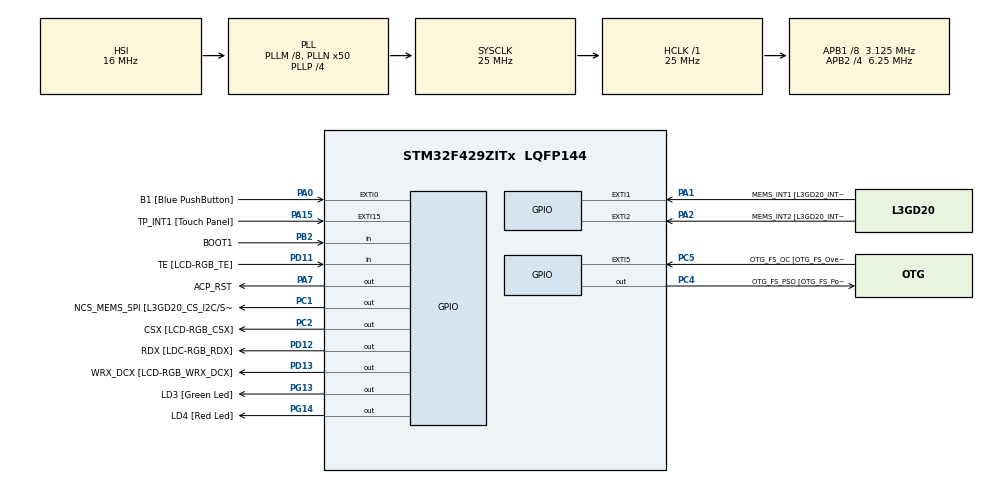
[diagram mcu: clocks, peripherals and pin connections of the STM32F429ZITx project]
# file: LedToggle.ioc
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Mcu.Family=STM32F4
Mcu.Name=STM32F429ZITx
Mcu.Package=LQFP144
NVIC.PriorityGroup=NVIC_PRIORITYGROUP_4
NVIC.TIM6_DAC_IRQn=true\:0\:0\:false\:false\:true\:false\:true\:true
NVIC.TimeBase=TIM6_DAC_IRQn
NVIC.TimeBaseIP=TIM6
PA0/WKUP.GPIO_Label=B1 [Blue PushButton]
PA0/WKUP.GPIO_ModeDefaultEXTI=GPIO_MODE_EVT_RISING
PA0/WKUP.GPIO_PuPd=GPIO_NOPULL
PA0/WKUP.Signal=GPXTI0
PA1.GPIO_Label=MEMS_INT1 [L3GD20_INT1]
PA1.GPIO_ModeDefaultEXTI=GPIO_MODE_EVT_RISING
PA1.GPIO_PuPd=GPIO_NOPULL
PA1.Signal=GPXTI1
PA10.GPIO_Label=STLINK_TX [STM32F103CBT6_PA2]
PA10.Signal=USART1_RX
PA11.GPIO_Label=R4
PA11.GPIO_Mode=GPIO_MODE_AF_PP
PA11.GPIO_PuPd=GPIO_NOPULL
PA11.GPIO_Speed=GPIO_SPEED_FREQ_LOW
PA11.Signal=LTDC_R4
PA12.GPIO_Label=R5
PA12.GPIO_Mode=GPIO_MODE_AF_PP
PA12.GPIO_PuPd=GPIO_NOPULL
PA12.GPIO_Speed=GPIO_SPEED_FREQ_LOW
PA12.Signal=LTDC_R5
PA13.GPIO_Label=SWDIO
PA13.Signal=SYS_JTMS-SWDIO
PA14.GPIO_Label=SWCLK
PA14.Signal=SYS_JTCK-SWCLK
PA15.GPIO_Label=TP_INT1 [Touch Panel]
PA15.GPIO_ModeDefaultEXTI=GPIO_MODE_EVT_RISING
PA15.GPIO_PuPd=GPIO_NOPULL
PA15.Signal=GPXTI15
PA2.GPIO_Label=MEMS_INT2 [L3GD20_INT2]
PA2.GPIO_ModeDefaultEXTI=GPIO_MODE_EVT_RISING
PA2.GPIO_PuPd=GPIO_NOPULL
PA2.Signal=GPXTI2
PA3.GPIO_Label=B5
PA3.GPIO_Mode=GPIO_MODE_AF_PP
PA3.GPIO_PuPd=GPIO_NOPULL
PA3.GPIO_Speed=GPIO_SPEED_FREQ_LOW
PA3.Signal=LTDC_B5
PA4.GPIO_Label=VSYNC
PA4.GPIO_Mode=GPIO_MODE_AF_PP
PA4.GPIO_PuPd=GPIO_NOPULL
PA4.GPIO_Speed=GPIO_SPEED_FREQ_LOW
PA4.Signal=LTDC_VSYNC
PA6.GPIO_Label=G2
PA6.GPIO_Mode=GPIO_MODE_AF_PP
PA6.GPIO_PuPd=GPIO_NOPULL
PA6.GPIO_Speed=GPIO_SPEED_FREQ_LOW
PA6.Signal=LTDC_G2
PA7.GPIO_Label=ACP_RST
PA7.GPIO_Mode=GPIO_MODE_OUTPUT_PP
PA7.GPIO_PuPd=GPIO_NOPULL
PA7.GPIO_Speed=GPIO_SPEED_FREQ_LOW
PA7.Signal=GPIO_Output
PA8.GPIO_Label=I2C3_SCL [ACP/RF_SCL]
PA8.GPIO_Mode=GPIO_MODE_AF_OD
PA8.GPIO_PuPd=GPIO_NOPULL
PA8.GPIO_Speed=GPIO_SPEED_FREQ_LOW
PA8.Signal=I2C3_SCL
PA9.GPIO_Label=STLINK_RX [STM32F103CBT6_PA3]
PA9.Signal=USART1_TX
PB0.GPIO_Label=R3
PB0.GPIO_Mode=GPIO_MODE_AF_PP
PB0.GPIO_PuPd=GPIO_NOPULL
PB0.GPIO_Speed=GPIO_SPEED_FREQ_LOW
PB0.Signal=LTDC_R3
PB1.GPIO_Label=R6
PB1.GPIO_Mode=GPIO_MODE_AF_PP
PB1.GPIO_PuPd=GPIO_NOPULL
PB1.GPIO_Speed=GPIO_SPEED_FREQ_LOW
PB1.Signal=LTDC_R6
PB10.GPIO_Label=G4
PB10.GPIO_Mode=GPIO_MODE_AF_PP
PB10.GPIO_PuPd=GPIO_NOPULL
PB10.GPIO_Speed=GPIO_SPEED_FREQ_LOW
PB10.Signal=LTDC_G4
PB11.GPIO_Label=G5
PB11.GPIO_Mode=GPIO_MODE_AF_PP
PB11.GPIO_PuPd=GPIO_NOPULL
PB11.GPIO_Speed=GPIO_SPEED_FREQ_LOW
PB11.Signal=LTDC_G5
PB12.GPIO_Label=OTG_HS_ID
PB12.GPIO_Mode=GPIO_MODE_AF_PP
PB12.GPIO_PuPd=GPIO_NOPULL
PB12.GPIO_Speed=GPIO_SPEED_FREQ_LOW
PB12.Signal=USB_OTG_HS_ID
PB13.GPIO_Label=VBUS_HS
PB13.GPIO_Mode=GPIO_MODE_INPUT
PB13.GPIO_PuPd=GPIO_NOPULL
PB13.Signal=USB_OTG_HS_VBUS
PB14.GPIO_Label=OTG_HS_DM
PB14.GPIO_Mode=GPIO_MODE_AF_PP
PB14.GPIO_PuPd=GPIO_NOPULL
PB14.GPIO_Speed=GPIO_SPEED_FREQ_LOW
PB14.Signal=USB_OTG_HS_DM
PB15.GPIO_Label=OTG_HS_DP
PB15.GPIO_Mode=GPIO_MODE_AF_PP
PB15.GPIO_PuPd=GPIO_NOPULL
PB15.GPIO_Speed=GPIO_SPEED_FREQ_LOW
PB15.Signal=USB_OTG_HS_DP
PB2/BOOT1.GPIO_Label=BOOT1
PB2/BOOT1.GPIO_Mode=GPIO_MODE_INPUT
PB2/BOOT1.GPIO_PuPd=GPIO_NOPULL
PB2/BOOT1.Signal=GPIO_Input
PB5.GPIO_Label=SDCKE1
PB5.GPIO_Mode=GPIO_MODE_AF_PP
PB5.GPIO_PuPd=GPIO_NOPULL
PB5.GPIO_Speed=GPIO_SPEED_FREQ_VERY_HIGH
PB5.Signal=FMC_SDCKE1
PB6.GPIO_Label=SDNE1 [SDRAM_CS]
PB6.GPIO_Mode=GPIO_MODE_AF_PP
PB6.GPIO_PuPd=GPIO_NOPULL
PB6.GPIO_Speed=GPIO_SPEED_FREQ_VERY_HIGH
PB6.Signal=FMC_SDNE1
PB8.GPIO_Label=B6
PB8.GPIO_Mode=GPIO_MODE_AF_PP
PB8.GPIO_PuPd=GPIO_NOPULL
PB8.GPIO_Speed=GPIO_SPEED_FREQ_LOW
PB8.Signal=LTDC_B6
PB9.GPIO_Label=B7
PB9.GPIO_Mode=GPIO_MODE_AF_PP
PB9.GPIO_PuPd=GPIO_NOPULL
PB9.GPIO_Speed=GPIO_SPEED_FREQ_LOW
PB9.Signal=LTDC_B7
PC0.GPIO_Label=SDNWE
PC0.GPIO_Mode=GPIO_MODE_AF_PP
PC0.GPIO_PuPd=GPIO_NOPULL
PC0.GPIO_Speed=GPIO_SPEED_FREQ_VERY_HIGH
PC0.Signal=FMC_SDNWE
PC1.GPIO_Label=NCS_MEMS_SPI [L3GD20_CS_I2C/SPI]
PC1.GPIO_Mode=GPIO_MODE_OUTPUT_PP
PC1.GPIO_PuPd=GPIO_NOPULL
PC1.GPIO_Speed=GPIO_SPEED_FREQ_LOW
PC1.Signal=GPIO_Output
PC10.GPIO_Label=R2
PC10.GPIO_Mode=GPIO_MODE_AF_PP
PC10.GPIO_PuPd=GPIO_NOPULL
PC10.GPIO_Speed=GPIO_SPEED_FREQ_LOW
PC10.Signal=LTDC_R2
PC14/OSC32_IN.GPIO_Label=PC14-OSC32_IN
PC14/OSC32_IN.Signal=RCC_OSC32_IN
PC15/OSC32_OUT.GPIO_Label=PC15-OSC32_OUT
PC15/OSC32_OUT.Signal=RCC_OSC32_OUT
PC2.GPIO_Label=CSX [LCD-RGB_CSX]
PC2.GPIO_Mode=GPIO_MODE_OUTPUT_PP
PC2.GPIO_PuPd=GPIO_NOPULL
PC2.GPIO_Speed=GPIO_SPEED_FREQ_LOW
PC2.Signal=GPIO_Output
PC4.GPIO_Label=OTG_FS_PSO [OTG_FS_PowerSwitchOn]
PC4.GPIO_Mode=GPIO_MODE_OUTPUT_PP
PC4.GPIO_PuPd=GPIO_NOPULL
PC4.GPIO_Speed=GPIO_SPEED_FREQ_LOW
PC4.Signal=GPIO_Output
PC5.GPIO_Label=OTG_FS_OC [OTG_FS_OverCurrent]
PC5.GPIO_ModeDefaultEXTI=GPIO_MODE_EVT_RISING
PC5.Signal=GPXTI5
PC6.GPIO_Label=HSYNC
PC6.GPIO_Mode=GPIO_MODE_AF_PP
PC6.GPIO_PuPd=GPIO_NOPULL
PC6.GPIO_Speed=GPIO_SPEED_FREQ_LOW
PC6.Signal=LTDC_HSYNC
PC7.GPIO_Label=G6
PC7.GPIO_Mode=GPIO_MODE_AF_PP
PC7.GPIO_PuPd=GPIO_NOPULL
PC7.GPIO_Speed=GPIO_SPEED_FREQ_LOW
PC7.Signal=LTDC_G6
PC9.GPIO_Label=I2C3_SDA [ACP/RF_SDA]
PC9.GPIO_Mode=GPIO_MODE_AF_OD
PC9.GPIO_PuPd=GPIO_NOPULL
PC9.GPIO_Speed=GPIO_SPEED_FREQ_LOW
PC9.Signal=I2C3_SDA
PD0.GPIO_Label=D2
PD0.GPIO_Mode=GPIO_MODE_AF_PP
PD0.GPIO_PuPd=GPIO_NOPULL
PD0.GPIO_Speed=GPIO_SPEED_FREQ_VERY_HIGH
PD0.Signal=FMC_D2_DA2
PD1.GPIO_Label=D3
PD1.GPIO_Mode=GPIO_MODE_AF_PP
PD1.GPIO_PuPd=GPIO_NOPULL
PD1.GPIO_Speed=GPIO_SPEED_FREQ_VERY_HIGH
PD1.Signal=FMC_D3_DA3
PD10.GPIO_Label=D15
PD10.GPIO_Mode=GPIO_MODE_AF_PP
PD10.GPIO_PuPd=GPIO_NOPULL
PD10.GPIO_Speed=GPIO_SPEED_FREQ_VERY_HIGH
PD10.Signal=FMC_D15_DA15
PD11.GPIO_Label=TE [LCD-RGB_TE]
PD11.GPIO_Mode=GPIO_MODE_INPUT
PD11.GPIO_PuPd=GPIO_NOPULL
PD11.Signal=GPIO_Input
PD12.GPIO_Label=RDX [LDC-RGB_RDX]
PD12.GPIO_Mode=GPIO_MODE_OUTPUT_PP
PD12.GPIO_PuPd=GPIO_NOPULL
PD12.GPIO_Speed=GPIO_SPEED_FREQ_LOW
PD12.Signal=GPIO_Output
PD13.GPIO_Label=WRX_DCX [LCD-RGB_WRX_DCX]
PD13.GPIO_Mode=GPIO_MODE_OUTPUT_PP
PD13.GPIO_PuPd=GPIO_NOPULL
PD13.GPIO_Speed=GPIO_SPEED_FREQ_LOW
PD13.Signal=GPIO_Output
PD14.GPIO_Label=D0
PD14.GPIO_Mode=GPIO_MODE_AF_PP
PD14.GPIO_PuPd=GPIO_NOPULL
PD14.GPIO_Speed=GPIO_SPEED_FREQ_VERY_HIGH
PD14.Signal=FMC_D0_DA0
PD15.GPIO_Label=D1
PD15.GPIO_Mode=GPIO_MODE_AF_PP
PD15.GPIO_PuPd=GPIO_NOPULL
PD15.GPIO_Speed=GPIO_SPEED_FREQ_VERY_HIGH
PD15.Signal=FMC_D1_DA1
PD3.GPIO_Label=G7
PD3.GPIO_Mode=GPIO_MODE_AF_PP
PD3.GPIO_PuPd=GPIO_NOPULL
PD3.GPIO_Speed=GPIO_SPEED_FREQ_LOW
PD3.Signal=LTDC_G7
PD6.GPIO_Label=B2
PD6.GPIO_Mode=GPIO_MODE_AF_PP
PD6.GPIO_PuPd=GPIO_NOPULL
PD6.GPIO_Speed=GPIO_SPEED_FREQ_LOW
PD6.Signal=LTDC_B2
PD8.GPIO_Label=D13
PD8.GPIO_Mode=GPIO_MODE_AF_PP
PD8.GPIO_PuPd=GPIO_NOPULL
PD8.GPIO_Speed=GPIO_SPEED_FREQ_VERY_HIGH
PD8.Signal=FMC_D13_DA13
PD9.GPIO_Label=D14
PD9.GPIO_Mode=GPIO_MODE_AF_PP
PD9.GPIO_PuPd=GPIO_NOPULL
PD9.GPIO_Speed=GPIO_SPEED_FREQ_VERY_HIGH
PD9.Signal=FMC_D14_DA14
PE0.GPIO_Label=NBL0 [SDRAM_LDQM]
PE0.GPIO_Mode=GPIO_MODE_AF_PP
PE0.GPIO_PuPd=GPIO_NOPULL
PE0.GPIO_Speed=GPIO_SPEED_FREQ_VERY_HIGH
PE0.Signal=FMC_NBL0
PE1.GPIO_Label=NBL1 [SDRAM_UDQM]
PE1.GPIO_Mode=GPIO_MODE_AF_PP
PE1.GPIO_PuPd=GPIO_NOPULL
PE1.GPIO_Speed=GPIO_SPEED_FREQ_VERY_HIGH
PE1.Signal=FMC_NBL1
PE10.GPIO_Label=D7
PE10.GPIO_Mode=GPIO_MODE_AF_PP
PE10.GPIO_PuPd=GPIO_NOPULL
PE10.GPIO_Speed=GPIO_SPEED_FREQ_VERY_HIGH
PE10.Signal=FMC_D7_DA7
PE11.GPIO_Label=D8
PE11.GPIO_Mode=GPIO_MODE_AF_PP
PE11.GPIO_PuPd=GPIO_NOPULL
PE11.GPIO_Speed=GPIO_SPEED_FREQ_VERY_HIGH
PE11.Signal=FMC_D8_DA8
PE12.GPIO_Label=D9
PE12.GPIO_Mode=GPIO_MODE_AF_PP
PE12.GPIO_PuPd=GPIO_NOPULL
PE12.GPIO_Speed=GPIO_SPEED_FREQ_VERY_HIGH
PE12.Signal=FMC_D9_DA9
PE13.GPIO_Label=D10
PE13.GPIO_Mode=GPIO_MODE_AF_PP
PE13.GPIO_PuPd=GPIO_NOPULL
PE13.GPIO_Speed=GPIO_SPEED_FREQ_VERY_HIGH
PE13.Signal=FMC_D10_DA10
PE14.GPIO_Label=D11
PE14.GPIO_Mode=GPIO_MODE_AF_PP
PE14.GPIO_PuPd=GPIO_NOPULL
PE14.GPIO_Speed=GPIO_SPEED_FREQ_VERY_HIGH
PE14.Signal=FMC_D11_DA11
PE15.GPIO_Label=D12
PE15.GPIO_Mode=GPIO_MODE_AF_PP
PE15.GPIO_PuPd=GPIO_NOPULL
PE15.GPIO_Speed=GPIO_SPEED_FREQ_VERY_HIGH
PE15.Signal=FMC_D12_DA12
PE7.GPIO_Label=D4
PE7.GPIO_Mode=GPIO_MODE_AF_PP
PE7.GPIO_PuPd=GPIO_NOPULL
PE7.GPIO_Speed=GPIO_SPEED_FREQ_VERY_HIGH
PE7.Signal=FMC_D4_DA4
PE8.GPIO_Label=D5
PE8.GPIO_Mode=GPIO_MODE_AF_PP
PE8.GPIO_PuPd=GPIO_NOPULL
PE8.GPIO_Speed=GPIO_SPEED_FREQ_VERY_HIGH
PE8.Signal=FMC_D5_DA5
PE9.GPIO_Label=D6
PE9.GPIO_Mode=GPIO_MODE_AF_PP
PE9.GPIO_PuPd=GPIO_NOPULL
PE9.GPIO_Speed=GPIO_SPEED_FREQ_VERY_HIGH
PE9.Signal=FMC_D6_DA6
PF0.GPIO_Label=A0
PF0.GPIO_Mode=GPIO_MODE_AF_PP
PF0.GPIO_PuPd=GPIO_NOPULL
PF0.GPIO_Speed=GPIO_SPEED_FREQ_VERY_HIGH
PF0.Signal=FMC_A0
PF1.GPIO_Label=A1
PF1.GPIO_Mode=GPIO_MODE_AF_PP
PF1.GPIO_PuPd=GPIO_NOPULL
PF1.GPIO_Speed=GPIO_SPEED_FREQ_VERY_HIGH
PF1.Signal=FMC_A1
PF10.GPIO_Label=ENABLE [LCD-RGB_ENABLE]
PF10.GPIO_Mode=GPIO_MODE_AF_PP
PF10.GPIO_PuPd=GPIO_NOPULL
PF10.GPIO_Speed=GPIO_SPEED_FREQ_LOW
PF10.Signal=LTDC_DE
PF11.GPIO_Label=SDNRAS
PF11.GPIO_Mode=GPIO_MODE_AF_PP
PF11.GPIO_PuPd=GPIO_NOPULL
PF11.GPIO_Speed=GPIO_SPEED_FREQ_VERY_HIGH
PF11.Signal=FMC_SDNRAS
PF12.GPIO_Label=A6
PF12.GPIO_Mode=GPIO_MODE_AF_PP
PF12.GPIO_PuPd=GPIO_NOPULL
PF12.GPIO_Speed=GPIO_SPEED_FREQ_VERY_HIGH
PF12.Signal=FMC_A6
PF13.GPIO_Label=A7
PF13.GPIO_Mode=GPIO_MODE_AF_PP
PF13.GPIO_PuPd=GPIO_NOPULL
PF13.GPIO_Speed=GPIO_SPEED_FREQ_VERY_HIGH
PF13.Signal=FMC_A7
PF14.GPIO_Label=A8
PF14.GPIO_Mode=GPIO_MODE_AF_PP
PF14.GPIO_PuPd=GPIO_NOPULL
PF14.GPIO_Speed=GPIO_SPEED_FREQ_VERY_HIGH
PF14.Signal=FMC_A8
PF15.GPIO_Label=A9
PF15.GPIO_Mode=GPIO_MODE_AF_PP
PF15.GPIO_PuPd=GPIO_NOPULL
PF15.GPIO_Speed=GPIO_SPEED_FREQ_VERY_HIGH
PF15.Signal=FMC_A9
PF2.GPIO_Label=A2
PF2.GPIO_Mode=GPIO_MODE_AF_PP
PF2.GPIO_PuPd=GPIO_NOPULL
PF2.GPIO_Speed=GPIO_SPEED_FREQ_VERY_HIGH
PF2.Signal=FMC_A2
PF3.GPIO_Label=A3
PF3.GPIO_Mode=GPIO_MODE_AF_PP
PF3.GPIO_PuPd=GPIO_NOPULL
PF3.GPIO_Speed=GPIO_SPEED_FREQ_VERY_HIGH
PF3.Signal=FMC_A3
PF4.GPIO_Label=A4
PF4.GPIO_Mode=GPIO_MODE_AF_PP
PF4.GPIO_PuPd=GPIO_NOPULL
PF4.GPIO_Speed=GPIO_SPEED_FREQ_VERY_HIGH
PF4.Signal=FMC_A4
PF5.GPIO_Label=A5
PF5.GPIO_Mode=GPIO_MODE_AF_PP
PF5.GPIO_PuPd=GPIO_NOPULL
PF5.GPIO_Speed=GPIO_SPEED_FREQ_VERY_HIGH
PF5.Signal=FMC_A5
PF7.GPIO_Label=SPI5_SCK [L3GD20_SCL/SPC]
PF7.GPIO_Mode=GPIO_MODE_AF_PP
PF7.GPIO_PuPd=GPIO_NOPULL
PF7.GPIO_Speed=GPIO_SPEED_FREQ_LOW
PF7.Signal=SPI5_SCK
PF8.GPIO_Label=SPI5_MISO [L3GD20_SDO]
PF8.GPIO_Mode=GPIO_MODE_AF_PP
PF8.GPIO_PuPd=GPIO_NOPULL
PF8.GPIO_Speed=GPIO_SPEED_FREQ_LOW
PF8.Signal=SPI5_MISO
PF9.GPIO_Label=SPI5_MOSI [L3GD20_SDA/SDI/SDO]
PF9.GPIO_Mode=GPIO_MODE_AF_PP
PF9.GPIO_PuPd=GPIO_NOPULL
PF9.GPIO_Speed=GPIO_SPEED_FREQ_LOW
PF9.Signal=SPI5_MOSI
PG0.GPIO_Label=A10
PG0.GPIO_Mode=GPIO_MODE_AF_PP
PG0.GPIO_PuPd=GPIO_NOPULL
PG0.GPIO_Speed=GPIO_SPEED_FREQ_VERY_HIGH
PG0.Signal=FMC_A10
PG1.GPIO_Label=A11
PG1.GPIO_Mode=GPIO_MODE_AF_PP
PG1.GPIO_PuPd=GPIO_NOPULL
PG1.GPIO_Speed=GPIO_SPEED_FREQ_VERY_HIGH
PG1.Signal=FMC_A11
PG10.GPIO_Label=G3
PG10.GPIO_Mode=GPIO_MODE_AF_PP
PG10.GPIO_PuPd=GPIO_NOPULL
PG10.GPIO_Speed=GPIO_SPEED_FREQ_LOW
PG10.Signal=LTDC_G3
PG11.GPIO_Label=B3
PG11.GPIO_Mode=GPIO_MODE_AF_PP
PG11.GPIO_PuPd=GPIO_NOPULL
PG11.GPIO_Speed=GPIO_SPEED_FREQ_LOW
PG11.Signal=LTDC_B3
PG12.GPIO_Label=B4
PG12.GPIO_Mode=GPIO_MODE_AF_PP
PG12.GPIO_PuPd=GPIO_NOPULL
PG12.GPIO_Speed=GPIO_SPEED_FREQ_LOW
PG12.Signal=LTDC_B4
PG13.GPIO_Label=LD3 [Green Led]
PG13.GPIO_Mode=GPIO_MODE_OUTPUT_PP
PG13.GPIO_PuPd=GPIO_NOPULL
PG13.GPIO_Speed=GPIO_SPEED_FREQ_LOW
PG13.Signal=GPIO_Output
PG14.GPIO_Label=LD4 [Red Led]
PG14.GPIO_Mode=GPIO_MODE_OUTPUT_PP
PG14.GPIO_PuPd=GPIO_NOPULL
PG14.GPIO_Speed=GPIO_SPEED_FREQ_LOW
PG14.Signal=GPIO_Output
PG15.GPIO_Label=SDNCAS
PG15.GPIO_Mode=GPIO_MODE_AF_PP
PG15.GPIO_PuPd=GPIO_NOPULL
PG15.GPIO_Speed=GPIO_SPEED_FREQ_VERY_HIGH
PG15.Signal=FMC_SDNCAS
PG4.GPIO_Label=BA0
PG4.GPIO_Mode=GPIO_MODE_AF_PP
PG4.GPIO_PuPd=GPIO_NOPULL
PG4.GPIO_Speed=GPIO_SPEED_FREQ_VERY_HIGH
PG4.Signal=FMC_A14_BA0
PG5.GPIO_Label=BA1
PG5.GPIO_Mode=GPIO_MODE_AF_PP
PG5.GPIO_PuPd=GPIO_NOPULL
PG5.GPIO_Speed=GPIO_SPEED_FREQ_VERY_HIGH
PG5.Signal=FMC_A15_BA1
PG6.GPIO_Label=R7
PG6.GPIO_Mode=GPIO_MODE_AF_PP
PG6.GPIO_PuPd=GPIO_NOPULL
PG6.GPIO_Speed=GPIO_SPEED_FREQ_LOW
PG6.Signal=LTDC_R7
PG7.GPIO_Label=DOTCLK [LCT-RGB_DOTCLK]
PG7.GPIO_Mode=GPIO_MODE_AF_PP
PG7.GPIO_PuPd=GPIO_NOPULL
PG7.GPIO_Speed=GPIO_SPEED_FREQ_LOW
PG7.Signal=LTDC_CLK
PG8.GPIO_Label=SDCLK
PG8.GPIO_Mode=GPIO_MODE_AF_PP
PG8.GPIO_PuPd=GPIO_NOPULL
PG8.GPIO_Speed=GPIO_SPEED_FREQ_VERY_HIGH
PG8.Signal=FMC_SDCLK
PH0/OSC_IN.GPIO_Label=PH0-OSC_IN
PH0/OSC_IN.Signal=RCC_OSC_IN
PH1/OSC_OUT.GPIO_Label=PH1-OSC_OUT
PH1/OSC_OUT.Signal=RCC_OSC_OUT
ProjectManager.HeapSize=0x200
ProjectManager.StackSize=0x400
ProjectManager.TargetToolchain=STM32CubeIDE
RCC.48MHZClocksFreq_Value=14285714.285714285
RCC.AHBFreq_Value=25000000
RCC.APB1CLKDivider=RCC_HCLK_DIV8
RCC.APB1Freq_Value=3125000
RCC.APB1TimFreq_Value=6250000
RCC.APB2CLKDivider=RCC_HCLK_DIV4
RCC.APB2Freq_Value=6250000
RCC.APB2TimFreq_Value=12500000
RCC.CortexFreq_Value=25000000
RCC.HCLKFreq_Value=25000000
RCC.HSE_VALUE=8000000
RCC.HSI_VALUE=16000000
RCC.LSE_VALUE=32768
RCC.PLLM=8
RCC.PLLN=50
RCC.PLLP=RCC_PLLP_DIV4
RCC.PLLQ=7
RCC.SYSCLKFreq_VALUE=25000000
RCC.SYSCLKSource=RCC_SYSCLKSOURCE_PLLCLK
RCC.VCOOutputFreq_Value=100000000
SH.FMC_A0.0=FMC_A0
SH.FMC_A1.0=FMC_A1
SH.FMC_A10.0=FMC_A10
SH.FMC_A11.0=FMC_A11
SH.FMC_A14_BA0.0=FMC_BA0
SH.FMC_A15_BA1.0=FMC_BA1
SH.FMC_A2.0=FMC_A2
SH.FMC_A3.0=FMC_A3
SH.FMC_A4.0=FMC_A4
SH.FMC_A5.0=FMC_A5
SH.FMC_A6.0=FMC_A6
SH.FMC_A7.0=FMC_A7
SH.FMC_A8.0=FMC_A8
SH.FMC_A9.0=FMC_A9
SH.FMC_D0_DA0.0=FMC_D0
SH.FMC_D10_DA10.0=FMC_D10
SH.FMC_D11_DA11.0=FMC_D11
SH.FMC_D12_DA12.0=FMC_D12
SH.FMC_D13_DA13.0=FMC_D13
SH.FMC_D14_DA14.0=FMC_D14
SH.FMC_D15_DA15.0=FMC_D15
SH.FMC_D1_DA1.0=FMC_D1
SH.FMC_D2_DA2.0=FMC_D2
SH.FMC_D3_DA3.0=FMC_D3
SH.FMC_D4_DA4.0=FMC_D4
SH.FMC_D5_DA5.0=FMC_D5
SH.FMC_D6_DA6.0=FMC_D6
SH.FMC_D7_DA7.0=FMC_D7
SH.FMC_D8_DA8.0=FMC_D8
SH.FMC_D9_DA9.0=FMC_D9
SH.FMC_NBL0.0=FMC_NBL0
SH.FMC_NBL1.0=FMC_NBL1
SH.FMC_SDCLK.0=FMC_SDCLK
SH.FMC_SDNCAS.0=FMC_SDNCAS
SH.FMC_SDNRAS.0=FMC_SDNRAS
SH.FMC_SDNWE.0=FMC_SDNWE
VP_SYS_VS_tim6.Mode=TIM6
board=STM32F429I-DISC1

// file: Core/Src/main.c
/* USER CODE BEGIN Header */
/**
  ******************************************************************************
  * @file           : main.c
  * @brief          : Main program body
  ******************************************************************************
  * @attention
  *
  * Copyright (c) 2023 STMicroelectronics.
  * All rights reserved.
  *
  * This software is licensed under terms that can be found in the LICENSE file
  * in the root directory of this software component.
  * If no LICENSE file comes with this software, it is provided AS-IS.
  *
  ******************************************************************************
  */
/* USER CODE END Header */
#include "main.h"

/* USER CODE BEGIN Includes */
#include <stdio.h>
#include "FreeRtos.h"
#include "task.h"
/* USER CODE END Includes */

/* USER CODE BEGIN PV */
#define DWT_CTRL	(*(volatile uint32_t*)0xE0001000)

BaseType_t IsSuccess;
TaskHandle_t GreenLed_handle;
TaskHandle_t RedLed_handle;

/* USER CODE END PV */

void SystemClock_Config(void);
static void MX_GPIO_Init(void);
/* USER CODE BEGIN PFP */

static void GreenLed_Handler(void *params);
static void RedLed_Handler(void *params);

/* USER CODE END PFP */

int main(void)
{

  /* MCU Configuration--------------------------------------------------------*/

  /* Reset of all peripherals, Initializes the Flash interface and the Systick. */
  HAL_Init();

  /* Configure the system clock */
  SystemClock_Config();

  /* Initialize all configured peripherals */
  MX_GPIO_Init();
  /* USER CODE BEGIN 2 */

  DWT_CTRL |= (1 << 0);

  //SEGGER_SYSVIEW_Conf();
  //SEGGER_SYSVIEW_Start();

IsSuccess = xTaskCreate(GreenLed_Handler, "LED-1", 200, NULL, 2, &GreenLed_handle);
configASSERT(IsSuccess == pdPASS);

IsSuccess = xTaskCreate(RedLed_Handler, "LED-2", 200, NULL, 2, &RedLed_handle);
configASSERT(IsSuccess == pdPASS);

vTaskStartScheduler();
  /* USER CODE END 2 */

  /* Infinite loop */
  while (1)
  {

  }
}

void SystemClock_Config(void)
{
  RCC_OscInitTypeDef RCC_OscInitStruct = {0};
  RCC_ClkInitTypeDef RCC_ClkInitStruct = {0};

  /** Configure the main internal regulator output voltage
  */
  __HAL_RCC_PWR_CLK_ENABLE();
  __HAL_PWR_VOLTAGESCALING_CONFIG(PWR_REGULATOR_VOLTAGE_SCALE3);

  /** Initializes the RCC Oscillators according to the specified parameters
  * in the RCC_OscInitTypeDef structure.
  */
  RCC_OscInitStruct.OscillatorType = RCC_OSCILLATORTYPE_HSI;
  RCC_OscInitStruct.HSIState = RCC_HSI_ON;
  RCC_OscInitStruct.HSICalibrationValue = RCC_HSICALIBRATION_DEFAULT;
  RCC_OscInitStruct.PLL.PLLState = RCC_PLL_ON;
  RCC_OscInitStruct.PLL.PLLSource = RCC_PLLSOURCE_HSI;
  RCC_OscInitStruct.PLL.PLLM = 8;
  RCC_OscInitStruct.PLL.PLLN = 50;
  RCC_OscInitStruct.PLL.PLLP = RCC_PLLP_DIV4;
  RCC_OscInitStruct.PLL.PLLQ = 7;
  if (HAL_RCC_OscConfig(&RCC_OscInitStruct) != HAL_OK)
  {
    Error_Handler();
  }

  /** Initializes the CPU, AHB and APB buses clocks
  */
  RCC_ClkInitStruct.ClockType = RCC_CLOCKTYPE_HCLK|RCC_CLOCKTYPE_SYSCLK
                              |RCC_CLOCKTYPE_PCLK1|RCC_CLOCKTYPE_PCLK2;
  RCC_ClkInitStruct.SYSCLKSource = RCC_SYSCLKSOURCE_PLLCLK;
  RCC_ClkInitStruct.AHBCLKDivider = RCC_SYSCLK_DIV1;
  RCC_ClkInitStruct.APB1CLKDivider = RCC_HCLK_DIV8;
  RCC_ClkInitStruct.APB2CLKDivider = RCC_HCLK_DIV4;

  if (HAL_RCC_ClockConfig(&RCC_ClkInitStruct, FLASH_LATENCY_0) != HAL_OK)
  {
    Error_Handler();
  }
}

static void MX_GPIO_Init(void)
{
  GPIO_InitTypeDef GPIO_InitStruct = {0};

  /* GPIO Ports Clock Enable */
  __HAL_RCC_GPIOC_CLK_ENABLE();
  __HAL_RCC_GPIOF_CLK_ENABLE();
  __HAL_RCC_GPIOH_CLK_ENABLE();
  __HAL_RCC_GPIOA_CLK_ENABLE();
  __HAL_RCC_GPIOB_CLK_ENABLE();
  __HAL_RCC_GPIOG_CLK_ENABLE();
  __HAL_RCC_GPIOE_CLK_ENABLE();
  __HAL_RCC_GPIOD_CLK_ENABLE();

  /*Configure GPIO pin Output Level */
  HAL_GPIO_WritePin(GPIOC, NCS_MEMS_SPI_Pin|CSX_Pin|OTG_FS_PSO_Pin, GPIO_PIN_RESET);

  /*Configure GPIO pin Output Level */
  HAL_GPIO_WritePin(ACP_RST_GPIO_Port, ACP_RST_Pin, GPIO_PIN_RESET);

  /*Configure GPIO pin Output Level */
  HAL_GPIO_WritePin(GPIOD, RDX_Pin|WRX_DCX_Pin, GPIO_PIN_RESET);

  /*Configure GPIO pin Output Level */
  HAL_GPIO_WritePin(GPIOG, LD3_Pin|LD4_Pin, GPIO_PIN_RESET);

  /*Configure GPIO pins : A0_Pin A1_Pin A2_Pin A3_Pin
                           A4_Pin A5_Pin SDNRAS_Pin A6_Pin
                           A7_Pin A8_Pin A9_Pin */
  GPIO_InitStruct.Pin = A0_Pin|A1_Pin|A2_Pin|A3_Pin
                          |A4_Pin|A5_Pin|SDNRAS_Pin|A6_Pin
                          |A7_Pin|A8_Pin|A9_Pin;
  GPIO_InitStruct.Mode = GPIO_MODE_AF_PP;
  GPIO_InitStruct.Pull = GPIO_NOPULL;
  GPIO_InitStruct.Speed = GPIO_SPEED_FREQ_VERY_HIGH;
  GPIO_InitStruct.Alternate = GPIO_AF12_FMC;
  HAL_GPIO_Init(GPIOF, &GPIO_InitStruct);

  /*Configure GPIO pins : SPI5_SCK_Pin SPI5_MISO_Pin SPI5_MOSI_Pin */
  GPIO_InitStruct.Pin = SPI5_SCK_Pin|SPI5_MISO_Pin|SPI5_MOSI_Pin;
  GPIO_InitStruct.Mode = GPIO_MODE_AF_PP;
  GPIO_InitStruct.Pull = GPIO_NOPULL;
  GPIO_InitStruct.Speed = GPIO_SPEED_FREQ_LOW;
  GPIO_InitStruct.Alternate = GPIO_AF5_SPI5;
  HAL_GPIO_Init(GPIOF, &GPIO_InitStruct);

  /*Configure GPIO pin : ENABLE_Pin */
  GPIO_InitStruct.Pin = ENABLE_Pin;
  GPIO_InitStruct.Mode = GPIO_MODE_AF_PP;
  GPIO_InitStruct.Pull = GPIO_NOPULL;
  GPIO_InitStruct.Speed = GPIO_SPEED_FREQ_LOW;
  GPIO_InitStruct.Alternate = GPIO_AF14_LTDC;
  HAL_GPIO_Init(ENABLE_GPIO_Port, &GPIO_InitStruct);

  /*Configure GPIO pin : SDNWE_Pin */
  GPIO_InitStruct.Pin = SDNWE_Pin;
  GPIO_InitStruct.Mode = GPIO_MODE_AF_PP;
  GPIO_InitStruct.Pull = GPIO_NOPULL;
  GPIO_InitStruct.Speed = GPIO_SPEED_FREQ_VERY_HIGH;
  GPIO_InitStruct.Alternate = GPIO_AF12_FMC;
  HAL_GPIO_Init(SDNWE_GPIO_Port, &GPIO_InitStruct);

  /*Configure GPIO pins : NCS_MEMS_SPI_Pin CSX_Pin OTG_FS_PSO_Pin */
  GPIO_InitStruct.Pin = NCS_MEMS_SPI_Pin|CSX_Pin|OTG_FS_PSO_Pin;
  GPIO_InitStruct.Mode = GPIO_MODE_OUTPUT_PP;
  GPIO_InitStruct.Pull = GPIO_NOPULL;
  GPIO_InitStruct.Speed = GPIO_SPEED_FREQ_LOW;
  HAL_GPIO_Init(GPIOC, &GPIO_InitStruct);

  /*Configure GPIO pins : B1_Pin MEMS_INT1_Pin MEMS_INT2_Pin TP_INT1_Pin */
  GPIO_InitStruct.Pin = B1_Pin|MEMS_INT1_Pin|MEMS_INT2_Pin|TP_INT1_Pin;
  GPIO_InitStruct.Mode = GPIO_MODE_EVT_RISING;
  GPIO_InitStruct.Pull = GPIO_NOPULL;
  HAL_GPIO_Init(GPIOA, &GPIO_InitStruct);

  /*Configure GPIO pins : B5_Pin VSYNC_Pin G2_Pin R4_Pin
                           R5_Pin */
  GPIO_InitStruct.Pin = B5_Pin|VSYNC_Pin|G2_Pin|R4_Pin
                          |R5_Pin;
  GPIO_InitStruct.Mode = GPIO_MODE_AF_PP;
  GPIO_InitStruct.Pull = GPIO_NOPULL;
  GPIO_InitStruct.Speed = GPIO_SPEED_FREQ_LOW;
  GPIO_InitStruct.Alternate = GPIO_AF14_LTDC;
  HAL_GPIO_Init(GPIOA, &GPIO_InitStruct);

  /*Configure GPIO pin : ACP_RST_Pin */
  GPIO_InitStruct.Pin = ACP_RST_Pin;
  GPIO_InitStruct.Mode = GPIO_MODE_OUTPUT_PP;
  GPIO_InitStruct.Pull = GPIO_NOPULL;
  GPIO_InitStruct.Speed = GPIO_SPEED_FREQ_LOW;
  HAL_GPIO_Init(ACP_RST_GPIO_Port, &GPIO_InitStruct);

  /*Configure GPIO pin : OTG_FS_OC_Pin */
  GPIO_InitStruct.Pin = OTG_FS_OC_Pin;
  GPIO_InitStruct.Mode = GPIO_MODE_EVT_RISING;
  GPIO_InitStruct.Pull = GPIO_NOPULL;
  HAL_GPIO_Init(OTG_FS_OC_GPIO_Port, &GPIO_InitStruct);

  /*Configure GPIO pins : R3_Pin R6_Pin */
  GPIO_InitStruct.Pin = R3_Pin|R6_Pin;
  GPIO_InitStruct.Mode = GPIO_MODE_AF_PP;
  GPIO_InitStruct.Pull = GPIO_NOPULL;
  GPIO_InitStruct.Speed = GPIO_SPEED_FREQ_LOW;
  GPIO_InitStruct.Alternate = GPIO_AF9_LTDC;
  HAL_GPIO_Init(GPIOB, &GPIO_InitStruct);

  /*Configure GPIO pin : BOOT1_Pin */
  GPIO_InitStruct.Pin = BOOT1_Pin;
  GPIO_InitStruct.Mode = GPIO_MODE_INPUT;
  GPIO_InitStruct.Pull = GPIO_NOPULL;
  HAL_GPIO_Init(BOOT1_GPIO_Port, &GPIO_InitStruct);

  /*Configure GPIO pins : A10_Pin A11_Pin BA0_Pin BA1_Pin
                           SDCLK_Pin SDNCAS_Pin */
  GPIO_InitStruct.Pin = A10_Pin|A11_Pin|BA0_Pin|BA1_Pin
                          |SDCLK_Pin|SDNCAS_Pin;
  GPIO_InitStruct.Mode = GPIO_MODE_AF_PP;
  GPIO_InitStruct.Pull = GPIO_NOPULL;
  GPIO_InitStruct.Speed = GPIO_SPEED_FREQ_VERY_HIGH;
  GPIO_InitStruct.Alternate = GPIO_AF12_FMC;
  HAL_GPIO_Init(GPIOG, &GPIO_InitStruct);

  /*Configure GPIO pins : D4_Pin D5_Pin D6_Pin D7_Pin
                           D8_Pin D9_Pin D10_Pin D11_Pin
                           D12_Pin NBL0_Pin NBL1_Pin */
  GPIO_InitStruct.Pin = D4_Pin|D5_Pin|D6_Pin|D7_Pin
                          |D8_Pin|D9_Pin|D10_Pin|D11_Pin
                          |D12_Pin|NBL0_Pin|NBL1_Pin;
  GPIO_InitStruct.Mode = GPIO_MODE_AF_PP;
  GPIO_InitStruct.Pull = GPIO_NOPULL;
  GPIO_InitStruct.Speed = GPIO_SPEED_FREQ_VERY_HIGH;
  GPIO_InitStruct.Alternate = GPIO_AF12_FMC;
  HAL_GPIO_Init(GPIOE, &GPIO_InitStruct);

  /*Configure GPIO pins : G4_Pin G5_Pin B6_Pin B7_Pin */
  GPIO_InitStruct.Pin = G4_Pin|G5_Pin|B6_Pin|B7_Pin;
  GPIO_InitStruct.Mode = GPIO_MODE_AF_PP;
  GPIO_InitStruct.Pull = GPIO_NOPULL;
  GPIO_InitStruct.Speed = GPIO_SPEED_FREQ_LOW;
  GPIO_InitStruct.Alternate = GPIO_AF14_LTDC;
  HAL_GPIO_Init(GPIOB, &GPIO_InitStruct);

  /*Configure GPIO pins : OTG_HS_ID_Pin OTG_HS_DM_Pin OTG_HS_DP_Pin */
  GPIO_InitStruct.Pin = OTG_HS_ID_Pin|OTG_HS_DM_Pin|OTG_HS_DP_Pin;
  GPIO_InitStruct.Mode = GPIO_MODE_AF_PP;
  GPIO_InitStruct.Pull = GPIO_NOPULL;
  GPIO_InitStruct.Speed = GPIO_SPEED_FREQ_LOW;
  GPIO_InitStruct.Alternate = GPIO_AF12_OTG_HS_FS;
  HAL_GPIO_Init(GPIOB, &GPIO_InitStruct);

  /*Configure GPIO pin : VBUS_HS_Pin */
  GPIO_InitStruct.Pin = VBUS_HS_Pin;
  GPIO_InitStruct.Mode = GPIO_MODE_INPUT;
  GPIO_InitStruct.Pull = GPIO_NOPULL;
  HAL_GPIO_Init(VBUS_HS_GPIO_Port, &GPIO_InitStruct);

  /*Configure GPIO pins : D13_Pin D14_Pin D15_Pin D0_Pin
                           D1_Pin D2_Pin D3_Pin */
  GPIO_InitStruct.Pin = D13_Pin|D14_Pin|D15_Pin|D0_Pin
                          |D1_Pin|D2_Pin|D3_Pin;
  GPIO_InitStruct.Mode = GPIO_MODE_AF_PP;
  GPIO_InitStruct.Pull = GPIO_NOPULL;
  GPIO_InitStruct.Speed = GPIO_SPEED_FREQ_VERY_HIGH;
  GPIO_InitStruct.Alternate = GPIO_AF12_FMC;
  HAL_GPIO_Init(GPIOD, &GPIO_InitStruct);

  /*Configure GPIO pin : TE_Pin */
  GPIO_InitStruct.Pin = TE_Pin;
  GPIO_InitStruct.Mode = GPIO_MODE_INPUT;
  GPIO_InitStruct.Pull = GPIO_NOPULL;
  HAL_GPIO_Init(TE_GPIO_Port, &GPIO_InitStruct);

  /*Configure GPIO pins : RDX_Pin WRX_DCX_Pin */
  GPIO_InitStruct.Pin = RDX_Pin|WRX_DCX_Pin;
  GPIO_InitStruct.Mode = GPIO_MODE_OUTPUT_PP;
  GPIO_InitStruct.Pull = GPIO_NOPULL;
  GPIO_InitStruct.Speed = GPIO_SPEED_FREQ_LOW;
  HAL_GPIO_Init(GPIOD, &GPIO_InitStruct);

  /*Configure GPIO pins : R7_Pin DOTCLK_Pin B3_Pin */
  GPIO_InitStruct.Pin = R7_Pin|DOTCLK_Pin|B3_Pin;
  GPIO_InitStruct.Mode = GPIO_MODE_AF_PP;
  GPIO_InitStruct.Pull = GPIO_NOPULL;
  GPIO_InitStruct.Speed = GPIO_SPEED_FREQ_LOW;
  GPIO_InitStruct.Alternate = GPIO_AF14_LTDC;
  HAL_GPIO_Init(GPIOG, &GPIO_InitStruct);

  /*Configure GPIO pins : HSYNC_Pin G6_Pin R2_Pin */
  GPIO_InitStruct.Pin = HSYNC_Pin|G6_Pin|R2_Pin;
  GPIO_InitStruct.Mode = GPIO_MODE_AF_PP;
  GPIO_InitStruct.Pull = GPIO_NOPULL;
  GPIO_InitStruct.Speed = GPIO_SPEED_FREQ_LOW;
  GPIO_InitStruct.Alternate = GPIO_AF14_LTDC;
  HAL_GPIO_Init(GPIOC, &GPIO_InitStruct);

  /*Configure GPIO pin : I2C3_SDA_Pin */
  GPIO_InitStruct.Pin = I2C3_SDA_Pin;
  GPIO_InitStruct.Mode = GPIO_MODE_AF_OD;
  GPIO_InitStruct.Pull = GPIO_NOPULL;
  GPIO_InitStruct.Speed = GPIO_SPEED_FREQ_LOW;
  GPIO_InitStruct.Alternate = GPIO_AF4_I2C3;
  HAL_GPIO_Init(I2C3_SDA_GPIO_Port, &GPIO_InitStruct);

  /*Configure GPIO pin : I2C3_SCL_Pin */
  GPIO_InitStruct.Pin = I2C3_SCL_Pin;
  GPIO_InitStruct.Mode = GPIO_MODE_AF_OD;
  GPIO_InitStruct.Pull = GPIO_NOPULL;
  GPIO_InitStruct.Speed = GPIO_SPEED_FREQ_LOW;
  GPIO_InitStruct.Alternate = GPIO_AF4_I2C3;
  HAL_GPIO_Init(I2C3_SCL_GPIO_Port, &GPIO_InitStruct);

  /*Configure GPIO pins : STLINK_RX_Pin STLINK_TX_Pin */
  GPIO_InitStruct.Pin = STLINK_RX_Pin|STLINK_TX_Pin;
  GPIO_InitStruct.Mode = GPIO_MODE_AF_PP;
  GPIO_InitStruct.Pull = GPIO_NOPULL;
  GPIO_InitStruct.Speed = GPIO_SPEED_FREQ_VERY_HIGH;
  GPIO_InitStruct.Alternate = GPIO_AF7_USART1;
  HAL_GPIO_Init(GPIOA, &GPIO_InitStruct);

  /*Configure GPIO pins : G7_Pin B2_Pin */
  GPIO_InitStruct.Pin = G7_Pin|B2_Pin;
  GPIO_InitStruct.Mode = GPIO_MODE_AF_PP;
  GPIO_InitStruct.Pull = GPIO_NOPULL;
  GPIO_InitStruct.Speed = GPIO_SPEED_FREQ_LOW;
  GPIO_InitStruct.Alternate = GPIO_AF14_LTDC;
  HAL_GPIO_Init(GPIOD, &GPIO_InitStruct);

  /*Configure GPIO pins : G3_Pin B4_Pin */
  GPIO_InitStruct.Pin = G3_Pin|B4_Pin;
  GPIO_InitStruct.Mode = GPIO_MODE_AF_PP;
  GPIO_InitStruct.Pull = GPIO_NOPULL;
  GPIO_InitStruct.Speed = GPIO_SPEED_FREQ_LOW;
  GPIO_InitStruct.Alternate = GPIO_AF9_LTDC;
  HAL_GPIO_Init(GPIOG, &GPIO_InitStruct);

  /*Configure GPIO pins : LD3_Pin LD4_Pin */
  GPIO_InitStruct.Pin = LD3_Pin|LD4_Pin;
  GPIO_InitStruct.Mode = GPIO_MODE_OUTPUT_PP;
  GPIO_InitStruct.Pull = GPIO_NOPULL;
  GPIO_InitStruct.Speed = GPIO_SPEED_FREQ_LOW;
  HAL_GPIO_Init(GPIOG, &GPIO_InitStruct);

  /*Configure GPIO pins : SDCKE1_Pin SDNE1_Pin */
  GPIO_InitStruct.Pin = SDCKE1_Pin|SDNE1_Pin;
  GPIO_InitStruct.Mode = GPIO_MODE_AF_PP;
  GPIO_InitStruct.Pull = GPIO_NOPULL;
  GPIO_InitStruct.Speed = GPIO_SPEED_FREQ_VERY_HIGH;
  GPIO_InitStruct.Alternate = GPIO_AF12_FMC;
  HAL_GPIO_Init(GPIOB, &GPIO_InitStruct);

}

/* USER CODE BEGIN 4 */
static void GreenLed_Handler(void *params)
{
	TickType_t InitialTime;
	const TickType_t Frequency = 1000;//milliseconds
	InitialTime = xTaskGetTickCount();
	while(1)
	{
		//SEGGER_SYSVIEW_PrintfTarget(msg);
		HAL_GPIO_TogglePin(GPIOG, LD3_Pin);
		//HAL_Delay(1000);
		//vTaskDelay(pdMS_TO_TICKS(1000)); This API should not be used if periodicity is needed.
		vTaskDelayUntil(&InitialTime,pdMS_TO_TICKS(Frequency));
	}
}

static void RedLed_Handler(void *params)
{
	TickType_t InitialTime;
	const TickType_t Frequency = 500;//milliseconds
	InitialTime = xTaskGetTickCount();
	while(1)
	{
		//SEGGER_SYSVIEW_PrintfTarget(msg);
		HAL_GPIO_TogglePin(GPIOG, LD4_Pin);
		//HAL_Delay(500);
		//vTaskDelay(pdMS_TO_TICKS(500));
		vTaskDelayUntil(&InitialTime,pdMS_TO_TICKS(Frequency));//This is used for periodic tasks as it unblocks the
												//the tasks at absolute time
	}
}

/* USER CODE END 4 */

void HAL_TIM_PeriodElapsedCallback(TIM_HandleTypeDef *htim)
{
  if (htim->Instance == TIM6) {
    HAL_IncTick();
  }
}

void Error_Handler(void)
{
  __disable_irq();
  while (1)
  {
  }
}
